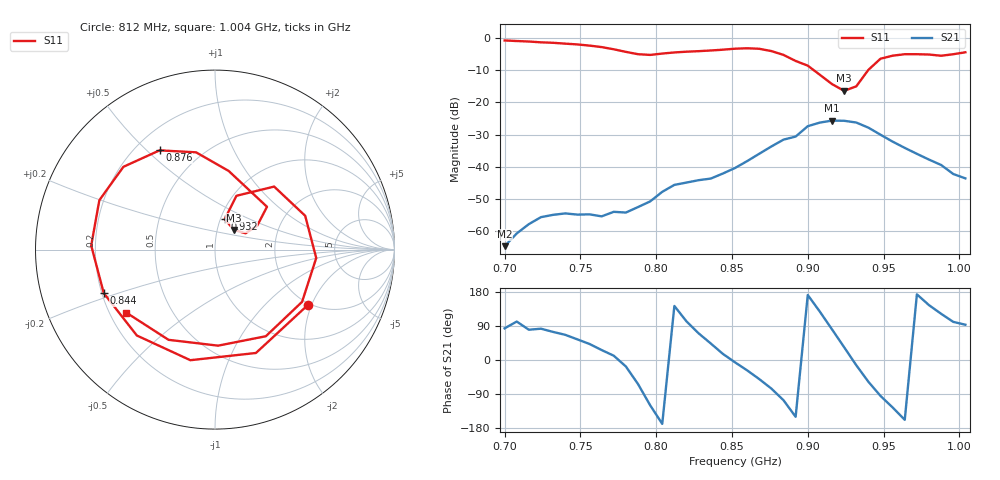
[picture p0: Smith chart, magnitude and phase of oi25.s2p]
# Hz S RI R 50
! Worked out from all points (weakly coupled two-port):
!   39 points, 700 MHz to 1.004 GHz, reference 50 ohm
!   highest |S21| = -25.66 dB at 916 MHz (marker M1); lowest = -64.8 dB at 700 MHz (marker M2)
!   lowest |S11| = -16.4 dB at 924 MHz (marker M3), VSWR 1.36, Z = 60.2 + j13.4 ohm
!   |S11| at or under -10 dB: 904.2 MHz to 939.7 MHz (35.56 MHz wide, 3.86 % of centre)
!   S12 and S22 are empty: the file has one direction only
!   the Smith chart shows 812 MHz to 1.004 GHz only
!   S11 on the Smith chart (normalised r, x): 812 MHz: 1.95, -1.88; 844 MHz: 0.21, -0.18; 876 MHz: 0.30, +0.55; 932 MHz: 1.05, +0.37; 1.004 GHz: 0.27, -0.30
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7e8  0.7636 0.5265  6.46e-05 0.00057  0 0  0 0
7.24e8  0.829 -0.2553  0.000209 0.00161  0 0  0 0
7.4e8  0.4423 -0.6991  0.000743 0.0017  0 0  0 0
7.56e8  -0.1971 -0.7453  0.00133 0.00121  0 0  0 0
7.72e8  -0.6504 -0.1819  0.00193 0.000387  0 0  0 0
7.8e8  -0.5701 0.2332  0.00183 -0.000562  0 0  0 0
7.88e8  -0.2117 0.5252  0.00105 -0.00209  0 0  0 0
8.04e8  0.5648 0.1281  -0.00396 -0.000801  0 0  0 0
8.12e8  0.5183 -0.3079  -0.00412 0.00314  0 0  0 0
8.28e8  -0.1373 -0.6163  0.00206 0.00577  0 0  0 0
8.44e8  -0.6199 -0.2425  0.00748 0.00217  0 0  0 0
8.52e8  -0.6897 0.0226  0.00944 -0.00102  0 0  0 0
8.76e8  -0.3089 0.5529  0.00518 -0.0199  0 0  0 0
9e8  0.2898 0.2385  -0.0422 0.00625  0 0  0 0
9.08e8  0.2351 0.1331  -0.0295 0.0385  0 0  0 0
9.16e8  0.1707 0.091  0.00829 0.0515  0 0  0 0
9.24e8  0.1058 0.1091  0.0431 0.0288  0 0  0 0
9.32e8  0.0543 0.1698  0.0473 -0.0115  0 0  0 0
9.48e8  0.3296 0.3511  -0.00262 -0.0313  0 0  0 0
9.56e8  0.5024 0.1885  -0.0141 -0.02  0 0  0 0
9.8e8  0.2832 -0.4827  -0.0105 0.00742  0 0  0 0
1.004e9  -0.4949 -0.3506  -0.000348 0.00653  0 0  0 0
